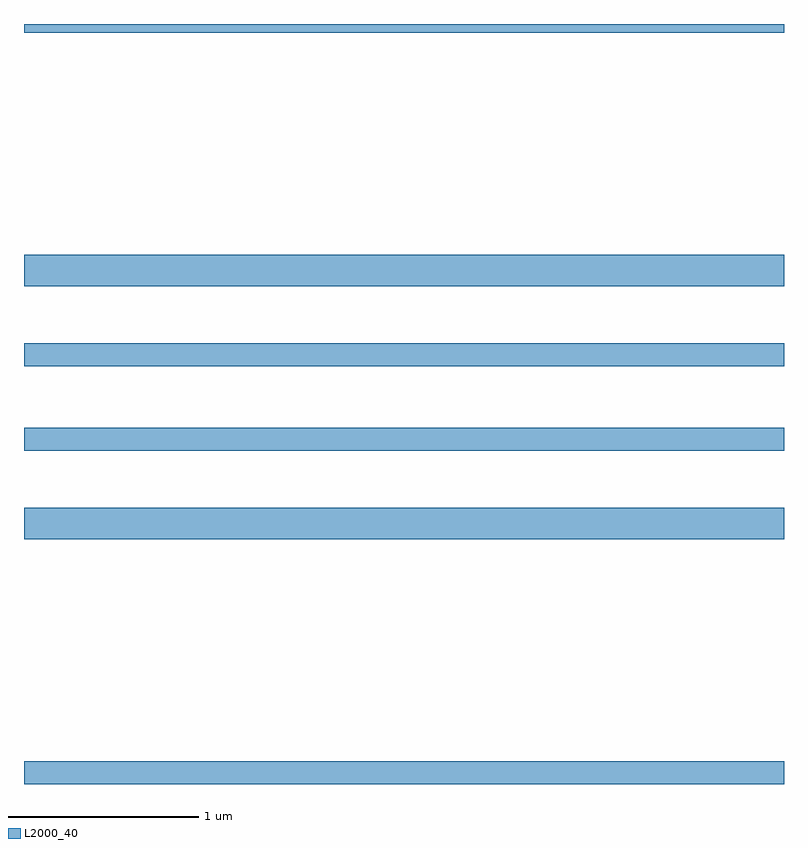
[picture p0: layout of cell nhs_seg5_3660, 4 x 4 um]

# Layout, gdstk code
import gdstk
lib = gdstk.Library(unit=1e-6, precision=1e-09)
def R(c, l, rs):  # rectangles x0, y0, x1, y1
    for r in rs: c.add(gdstk.rectangle(r[:2], r[2:], *l))
L2000_40 = (2000, 40)

nhs_seg5_3660 = lib.new_cell('nhs_seg5_3660')
R(nhs_seg5_3660, L2000_40, [(327,860.799,331,860.92), (327,862.088,331,862.252), (327,862.554,331,862.675), (327,862.998,331,863.119), (327,863.42,331,863.584), (327,864.752,331,864.799)])

lib.write_gds('nhs_seg5_3660.gds')
